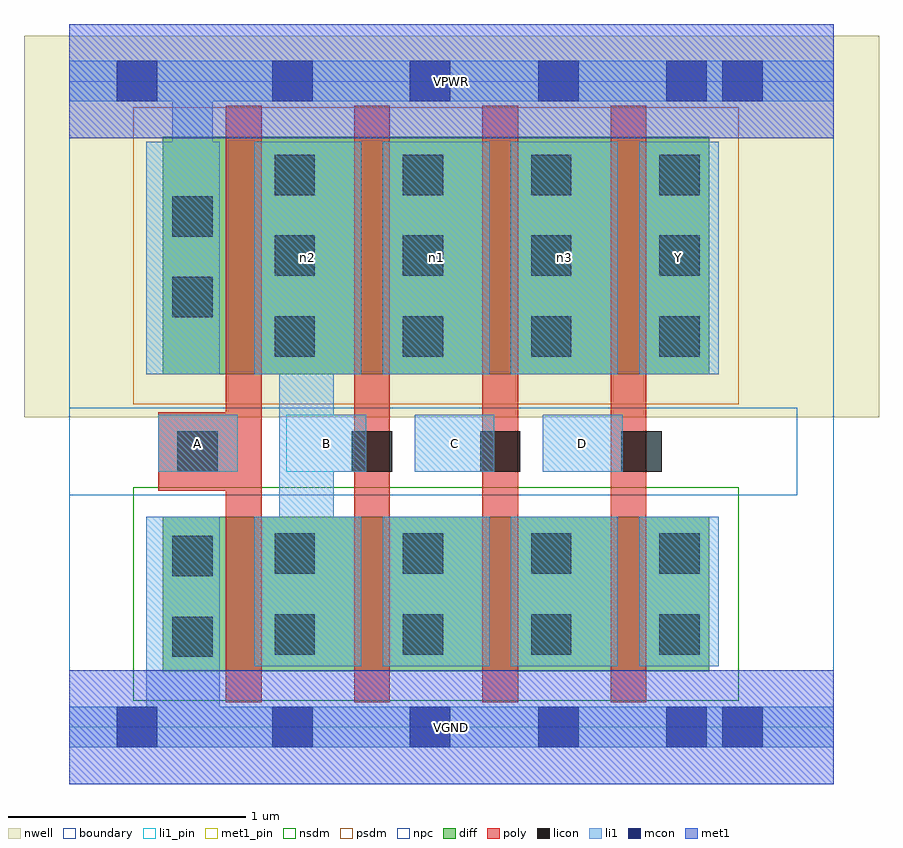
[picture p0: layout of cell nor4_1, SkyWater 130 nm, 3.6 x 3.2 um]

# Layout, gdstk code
import gdstk
lib = gdstk.Library(unit=1e-6, precision=1e-09)
def R(c, l, rs):  # rectangles x0, y0, x1, y1
    for r in rs: c.add(gdstk.rectangle(r[:2], r[2:], *l))
def A(c, l, x, y, w, h, nx, ny, dx, dy):  # array of equal rectangles
    R(c, l, [(x+i*dx, y+j*dy, x+i*dx+w, y+j*dy+h) for i in range(nx) for j in range(ny)])
nwell = (64, 20)
diff = (65, 20)
poly = (66, 20)
licon = (66, 44)
li1_pin = (67, 16)
li1 = (67, 20)
mcon = (67, 44)
met1_pin = (68, 16)
met1 = (68, 20)
nsdm = (93, 44)
psdm = (94, 20)
npc = (95, 20)
boundary = (235, 4)

nor4_1 = lib.new_cell('nor4_1')
R(nor4_1, nwell, [(-0.19,1.305,3.41,2.91), (0,1.305,3.22,2.91)])
R(nor4_1, diff, [(0.395,0.235,2.695,0.885), (0.395,1.485,2.695,2.485)])
A(nor4_1, poly, 0.66, 0.105, 0.15, 2.51, 4, 1, 0.54, 0)
R(nor4_1, poly, [(0.375,0.995,0.81,1.325)])
A(nor4_1, licon, 0.865, 0.305, 0.17, 0.17, 4, 2, 0.54, 0.34)
A(nor4_1, licon, 0.865, 1.56, 0.17, 0.17, 4, 3, 0.54, 0.34)
R(nor4_1, licon, [(0.435,0.295,0.605,0.465), (0.435,0.635,0.605,0.805), (0.455,1.075,0.625,1.245), (1.19,1.075,1.36,1.245), (1.73,1.075,1.9,1.245), (2.325,1.075,2.495,1.245), (0.435,1.725,0.605,1.895), (0.435,2.065,0.605,2.235)])
A(nor4_1, li1_pin, 0.375, 1.075, 0.335, 0.24, 4, 1, 0.54, 0)
R(nor4_1, li1_pin, [(2.4,1.485,2.735,2.465)])
A(nor4_1, li1, 0.78, 0.255, 0.45, 0.63, 3, 1, 0.54, 0)
A(nor4_1, li1, 0.375, 1.075, 0.335, 0.24, 4, 1, 0.54, 0)
A(nor4_1, li1, 0.78, 1.485, 0.45, 0.98, 3, 1, 0.54, 0)
R(nor4_1, li1, [(0,-0.085,3.22,0.085), (0.325,-0.085,0.635,0.885), (0.435,-0.085,0.605,0.805), (0.885,0.255,1.115,2.465), (2.4,0.255,2.735,0.885), (0.325,1.485,0.635,2.465), (2.4,1.485,2.735,2.465), (0.435,1.725,0.605,2.805), (0,2.635,3.22,2.805)])
A(nor4_1, mcon, 1.435, -0.085, 0.17, 0.17, 3, 2, 0.54, 2.72)
R(nor4_1, mcon, [(0.2,-0.085,0.37,0.085), (0.855,-0.085,1.025,0.085), (2.75,-0.085,2.92,0.085), (0.2,2.635,0.37,2.805), (0.855,2.635,1.025,2.805), (2.75,2.635,2.92,2.805)])
R(nor4_1, met1_pin, [(0,-0.24,3.22,0.24), (0,2.48,3.22,2.96)])
R(nor4_1, met1, [(0,-0.24,3.22,0.24), (0,2.48,3.22,2.96)])
R(nor4_1, nsdm, [(0.27,0.11,2.82,1.01)])
R(nor4_1, psdm, [(0.27,1.36,2.82,2.61)])
R(nor4_1, npc, [(0,0.975,3.065,1.345)])
R(nor4_1, boundary, [(0,0,3.22,2.72)])
nor4_1.add(gdstk.Label('A', (0.542,1.195), layer=67, texttype=5))
nor4_1.add(gdstk.Label('B', (1.082,1.195), layer=67, texttype=5))
nor4_1.add(gdstk.Label('C', (1.622,1.195), layer=67, texttype=5))
nor4_1.add(gdstk.Label('D', (2.162,1.195), layer=67, texttype=5))
nor4_1.add(gdstk.Label('Y', (2.567,1.975), layer=67, texttype=5))
nor4_1.add(gdstk.Label('n2', (1.005,1.975), layer=67, texttype=5))
nor4_1.add(gdstk.Label('n1', (1.545,1.975), layer=67, texttype=5))
nor4_1.add(gdstk.Label('n3', (2.085,1.975), layer=67, texttype=5))
nor4_1.add(gdstk.Label('VPWR', (1.61,2.72), layer=68, texttype=5))
nor4_1.add(gdstk.Label('VGND', (1.61,0), layer=68, texttype=5))
nor4_1.add(gdstk.Label('A', (0.542,1.195), layer=67, texttype=16))
nor4_1.add(gdstk.Label('B', (1.082,1.195), layer=67, texttype=16))
nor4_1.add(gdstk.Label('C', (1.622,1.195), layer=67, texttype=16))
nor4_1.add(gdstk.Label('D', (2.162,1.195), layer=67, texttype=16))
nor4_1.add(gdstk.Label('Y', (2.567,1.975), layer=67, texttype=16))
nor4_1.add(gdstk.Label('VPWR', (1.61,2.72), layer=68, texttype=16))
nor4_1.add(gdstk.Label('VGND', (1.61,0), layer=68, texttype=16))

lib.write_gds('nor4_1.gds')
